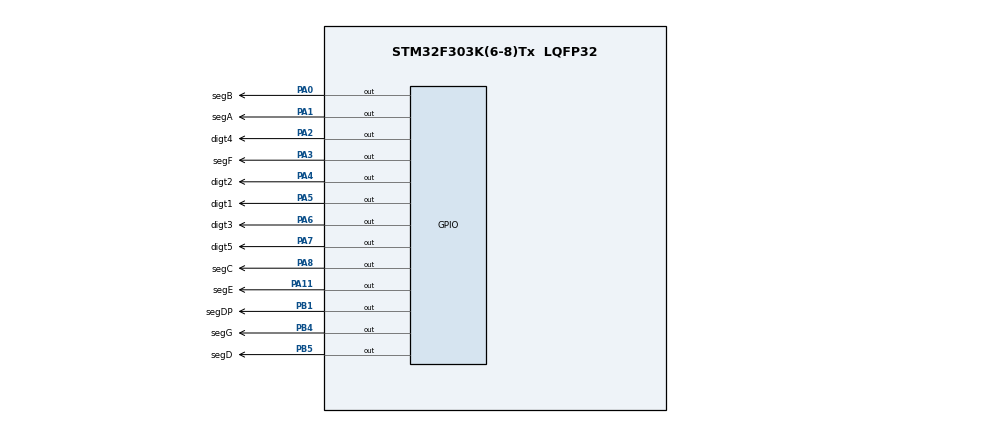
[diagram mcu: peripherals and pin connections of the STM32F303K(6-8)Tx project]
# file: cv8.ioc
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Mcu.Family=STM32F3
Mcu.Name=STM32F303K(6-8)Tx
Mcu.Package=LQFP32
NVIC.PriorityGroup=NVIC_PRIORITYGROUP_4
NVIC.TIM2_IRQn=true\:0\:0\:false\:false\:true\:true\:true
NVIC.TIM3_IRQn=true\:0\:0\:false\:false\:true\:true\:true
PA0.GPIO_Label=segB
PA0.GPIO_PuPd=GPIO_PULLUP
PA0.PinState=GPIO_PIN_SET
PA0.Signal=GPIO_Output
PA1.GPIO_Label=segA
PA1.GPIO_PuPd=GPIO_PULLUP
PA1.PinState=GPIO_PIN_SET
PA1.Signal=GPIO_Output
PA11.GPIO_Label=segE
PA11.GPIO_PuPd=GPIO_PULLUP
PA11.PinState=GPIO_PIN_SET
PA11.Signal=GPIO_Output
PA2.GPIO_Label=digt4
PA2.GPIO_PuPd=GPIO_PULLDOWN
PA2.Signal=GPIO_Output
PA3.GPIO_Label=segF
PA3.GPIO_PuPd=GPIO_PULLUP
PA3.PinState=GPIO_PIN_SET
PA3.Signal=GPIO_Output
PA4.GPIO_Label=digt2
PA4.GPIO_PuPd=GPIO_PULLDOWN
PA4.Signal=GPIO_Output
PA5.GPIO_Label=digt1
PA5.GPIO_PuPd=GPIO_PULLDOWN
PA5.Signal=GPIO_Output
PA6.GPIO_Label=digt3
PA6.GPIO_PuPd=GPIO_PULLDOWN
PA6.Signal=GPIO_Output
PA7.GPIO_Label=digt5
PA7.GPIO_PuPd=GPIO_PULLDOWN
PA7.Signal=GPIO_Output
PA8.GPIO_Label=segC
PA8.GPIO_PuPd=GPIO_PULLUP
PA8.PinState=GPIO_PIN_SET
PA8.Signal=GPIO_Output
PB1.GPIO_Label=segDP
PB1.GPIO_PuPd=GPIO_PULLUP
PB1.PinState=GPIO_PIN_SET
PB1.Signal=GPIO_Output
PB4.GPIO_Label=segG
PB4.GPIO_PuPd=GPIO_PULLUP
PB4.PinState=GPIO_PIN_SET
PB4.Signal=GPIO_Output
PB5.GPIO_Label=segD
PB5.GPIO_PuPd=GPIO_PULLUP
PB5.PinState=GPIO_PIN_SET
PB5.Signal=GPIO_Output
ProjectManager.HeapSize=0x200
ProjectManager.StackSize=0x400
ProjectManager.TargetToolchain=STM32CubeIDE
RCC.AHBFreq_Value=8000000
RCC.APB1Freq_Value=8000000
RCC.APB2Freq_Value=8000000
RCC.CortexFreq_Value=8000000
RCC.HSE_VALUE=8000000
RCC.HSI_VALUE=8000000
RCC.SYSCLKFreq_VALUE=8000000
TIM2.Channel-Output\ Compare1\ No\ Output=TIM_CHANNEL_1
TIM2.Period=499
TIM2.Prescaler=7999
TIM3.Channel-Output\ Compare1\ No\ Output=TIM_CHANNEL_1
TIM3.Period=5
TIM3.Prescaler=799
VP_TIM2_VS_ClockSourceINT.Mode=Internal
VP_TIM2_VS_no_output1.Mode=Output Compare1 No Output
VP_TIM3_VS_ClockSourceINT.Mode=Internal
VP_TIM3_VS_no_output1.Mode=Output Compare1 No Output
board=custom

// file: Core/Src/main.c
/* USER CODE BEGIN Header */
/**
  ******************************************************************************
  * @file           : main.c
  * @brief          : Main program body
  ******************************************************************************
  * @attention
  *
  * <h2><center>&copy; Copyright (c) 2021 STMicroelectronics.
  * All rights reserved.</center></h2>
  *
  * This software component is licensed by ST under BSD 3-Clause license,
  * the "License"; You may not use this file except in compliance with the
  * License. You may obtain a copy of the License at:
  *                        opensource.org/licenses/BSD-3-Clause
  *
  ******************************************************************************
  */
/* USER CODE END Header */
#include "main.h"
#include "tim.h"
#include "gpio.h"

/* USER CODE BEGIN Includes */
#include "7segment.h"
#include <stdio.h>
#include <string.h>
/* USER CODE END Includes */

/* USER CODE BEGIN PV */
uint8_t digitCycle = 0;
uint8_t textPosition = 0;
uint8_t shiftDirection = 1;
const uint8_t textLength = 17;
/* USER CODE END PV */

void SystemClock_Config(void);
/* USER CODE BEGIN PFP */
void refreshDisplay();
void shiftText();
/* USER CODE END PFP */

int main(void)
{

  /* MCU Configuration--------------------------------------------------------*/

  /* Reset of all peripherals, Initializes the Flash interface and the Systick. */

  LL_APB2_GRP1_EnableClock(LL_APB2_GRP1_PERIPH_SYSCFG);
  LL_APB1_GRP1_EnableClock(LL_APB1_GRP1_PERIPH_PWR);

  NVIC_SetPriorityGrouping(NVIC_PRIORITYGROUP_4);

  /* System interrupt init*/
  /* SysTick_IRQn interrupt configuration */
  NVIC_SetPriority(SysTick_IRQn, NVIC_EncodePriority(NVIC_GetPriorityGrouping(),15, 0));

  /* Configure the system clock */
  SystemClock_Config();

  /* Initialize all configured peripherals */
  MX_GPIO_Init();
  MX_TIM2_Init();
  MX_TIM3_Init();

  /* Infinite loop */
  /* USER CODE BEGIN WHILE */
  while (1)
  {
	  switch (digitCycle) {
	  	case 0:
	  		writeToDisplay(textPosition + digitCycle);
	  		setDigt1();
	  		break;
	  	case 1:
	  		writeToDisplay(textPosition + digitCycle);
	  		setDigt2();
	  		break;
	  	case 2:
	  		writeToDisplay(textPosition + digitCycle);
	  		setDigt3();
	  		break;
	  	case 3:
	  		writeToDisplay(textPosition + digitCycle);
	  		setDigt4();
	  		break;
	  	default:
	  		break;
	  	}
    /* USER CODE END WHILE */

  }
}

void SystemClock_Config(void)
{
  LL_FLASH_SetLatency(LL_FLASH_LATENCY_0);
  while(LL_FLASH_GetLatency()!= LL_FLASH_LATENCY_0)
  {
  }
  LL_RCC_HSI_Enable();

   /* Wait till HSI is ready */
  while(LL_RCC_HSI_IsReady() != 1)
  {

  }
  LL_RCC_HSI_SetCalibTrimming(16);
  LL_RCC_SetAHBPrescaler(LL_RCC_SYSCLK_DIV_1);
  LL_RCC_SetAPB1Prescaler(LL_RCC_APB1_DIV_1);
  LL_RCC_SetAPB2Prescaler(LL_RCC_APB2_DIV_1);
  LL_RCC_SetSysClkSource(LL_RCC_SYS_CLKSOURCE_HSI);

   /* Wait till System clock is ready */
  while(LL_RCC_GetSysClkSource() != LL_RCC_SYS_CLKSOURCE_STATUS_HSI)
  {

  }
  LL_Init1msTick(8000000);
  LL_SetSystemCoreClock(8000000);
}

/* USER CODE BEGIN 4 */
void refreshDisplay() {
	digitCycle++;
	if (digitCycle >= 4) {
		digitCycle = 0;
	}
}
void shiftText() {
	textPosition += shiftDirection;
	digitCycle = 0;
	if (textPosition >= textLength-4 || textPosition <= 0) {
		shiftDirection *= -1;
	}
}
/* USER CODE END 4 */

void Error_Handler(void)
{
  __disable_irq();
  while (1)
  {
  }
}

/************************ (C) COPYRIGHT STMicroelectronics *****END OF FILE****/
